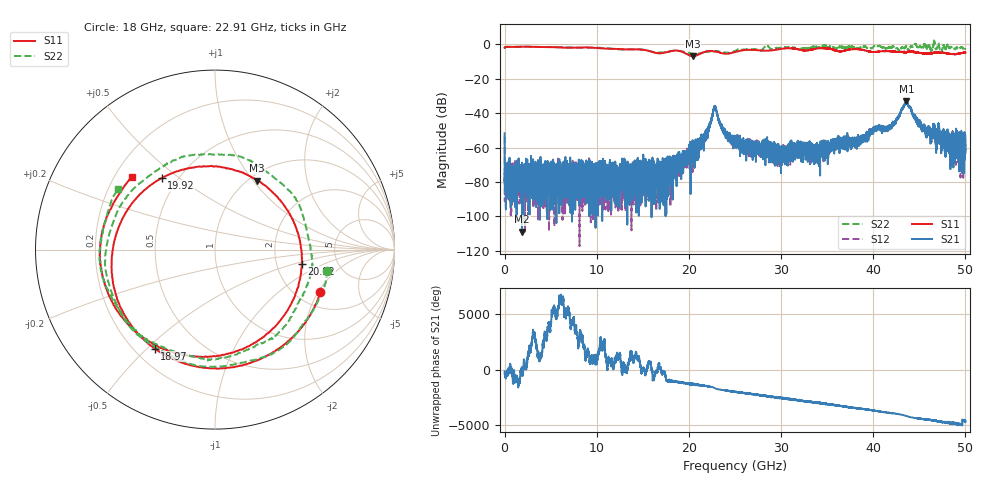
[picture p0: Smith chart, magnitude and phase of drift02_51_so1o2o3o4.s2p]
!Created with skrf (http://scikit-rf.org).
# Hz S RI R 50.0
!freq ReS11 ImS11 ReS21 ImS21 ReS12 ImS12 ReS22 ImS22
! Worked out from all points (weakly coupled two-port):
!   10001 points, 300 kHz to 50 GHz, reference 50 ohm
!   highest |S21| = -32.85 dB at 43.61 GHz (marker M1); lowest = -108.9 dB at 1.89 GHz (marker M2)
!   lowest |S11| = -6.9 dB at 20.41 GHz (marker M3), VSWR 2.64, Z = 54.3 + j52.5 ohm
!   |S11| at or under -10 dB: nowhere
!   |S22| runs from -5.7 to 2.3 dB; largest |S21 - S12| = 0.0043
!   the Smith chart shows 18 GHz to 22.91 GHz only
!   S11 on the Smith chart (normalised r, x): 18 GHz: 2.64, -2.09; 18.97 GHz: 0.28, -0.53; 19.92 GHz: 0.41, +0.43; 20.92 GHz: 2.79, -0.57; 22.91 GHz: 0.27, +0.35
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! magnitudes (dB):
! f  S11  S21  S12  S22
! 300 kHz  -2.0  -51.7  -53.4  -2.0
! 265.3 MHz  -1.4  -71.8  -73.4  -1.4
! 1.89 GHz  -1.4  -108.9  -76.6  -1.3
! 8.335 GHz  -1.7  -70.5  -85.6  -1.9
! 16.67 GHz  -5.2  -75.9  -76.4  -4.7
! 18 GHz  -4.0  -71.6  -79.9  -3.9
! 18.97 GHz  -3.8  -66.0  -68.6  -3.9
! 19.92 GHz  -6.1  -62.9  -63.7  -5.2
! 20.41 GHz  -6.9  -63.2  -58.3  -5.4
! 20.92 GHz  -6.2  -58.3  -63.4  -5.6
! 21.74 GHz  -4.4  -53.9  -53.1  -4.5
! 22.91 GHz  -4.2  -36.8  -36.7  -3.9
! 23.85 GHz  -5.4  -51.9  -50.9  -4.6
! 25 GHz  -4.5  -56.2  -55.9  -3.9
! 29.96 GHz  -2.7  -61.0  -66.2  -2.0
! 33.34 GHz  -3.0  -61.4  -59.8  -1.6
! 38.01 GHz  -2.7  -56.0  -57.2  -2.1
! 40.33 GHz  -4.4  -47.6  -48.4  -0.9
! 41.67 GHz  -4.0  -48.1  -48.4  -2.0
! 43.61 GHz  -4.4  -32.8  -33.3  -1.4
! 45.65 GHz  -5.4  -50.2  -49.0  -0.1
! 50 GHz  -4.7  -61.0  -57.6  -2.7
